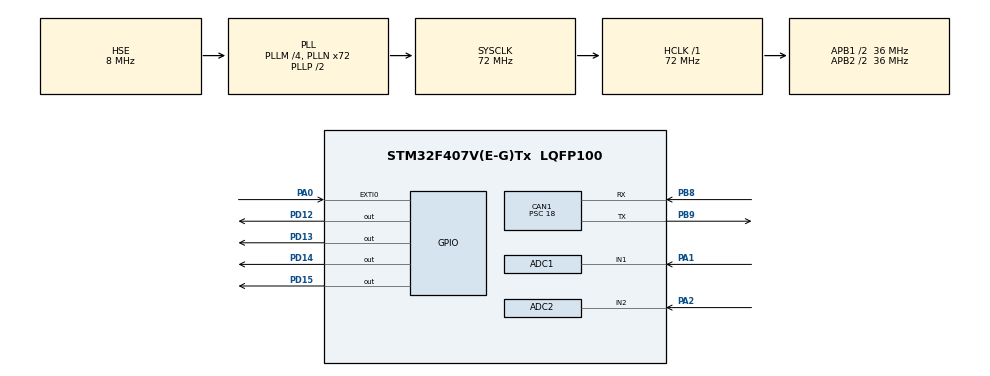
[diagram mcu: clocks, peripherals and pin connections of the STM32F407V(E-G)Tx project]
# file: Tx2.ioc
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ADC1.Channel-0\#ChannelRegularConversion=ADC_CHANNEL_1
ADC1.ContinuousConvMode=ENABLE
ADC1.NbrOfConversionFlag=1
ADC1.Rank-0\#ChannelRegularConversion=1
ADC1.SamplingTime-0\#ChannelRegularConversion=ADC_SAMPLETIME_3CYCLES
ADC1.master=1
ADC2.Channel-3\#ChannelRegularConversion=ADC_CHANNEL_2
ADC2.ContinuousConvMode=ENABLE
ADC2.NbrOfConversionFlag=1
ADC2.Rank-3\#ChannelRegularConversion=1
ADC2.SamplingTime-3\#ChannelRegularConversion=ADC_SAMPLETIME_3CYCLES
CAN1.BS1=CAN_BS1_2TQ
CAN1.CalculateBaudRate=500000
CAN1.CalculateTimeBit=2000
CAN1.CalculateTimeQuantum=500.0
CAN1.Prescaler=18
Mcu.Family=STM32F4
Mcu.Name=STM32F407V(E-G)Tx
Mcu.Package=LQFP100
NVIC.CAN1_RX0_IRQn=true\:0\:0\:false\:false\:true\:true\:true\:true
NVIC.EXTI0_IRQn=true\:0\:0\:false\:false\:true\:true\:true\:true
NVIC.PriorityGroup=NVIC_PRIORITYGROUP_0
PA0-WKUP.Signal=GPXTI0
PA1.Signal=ADCx_IN1
PA2.Signal=ADCx_IN2
PB8.Mode=CAN_Activate
PB8.Signal=CAN1_RX
PB9.Mode=CAN_Activate
PB9.Signal=CAN1_TX
PD12.Signal=GPIO_Output
PD13.Signal=GPIO_Output
PD14.Signal=GPIO_Output
PD15.Signal=GPIO_Output
PH0-OSC_IN.Mode=HSE-External-Oscillator
PH0-OSC_IN.Signal=RCC_OSC_IN
PH1-OSC_OUT.Mode=HSE-External-Oscillator
PH1-OSC_OUT.Signal=RCC_OSC_OUT
ProjectManager.HeapSize=0x200
ProjectManager.StackSize=0x400
ProjectManager.TargetToolchain=STM32CubeIDE
RCC.48MHZClocksFreq_Value=20571428.57142857
RCC.AHBFreq_Value=72000000
RCC.APB1CLKDivider=RCC_HCLK_DIV2
RCC.APB1Freq_Value=36000000
RCC.APB1TimFreq_Value=72000000
RCC.APB2CLKDivider=RCC_HCLK_DIV2
RCC.APB2Freq_Value=36000000
RCC.APB2TimFreq_Value=72000000
RCC.CortexFreq_Value=72000000
RCC.HCLKFreq_Value=72000000
RCC.HSE_VALUE=8000000
RCC.HSI_VALUE=16000000
RCC.LSE_VALUE=32768
RCC.PLLM=4
RCC.PLLN=72
RCC.PLLQ=7
RCC.PLLSourceVirtual=RCC_PLLSOURCE_HSE
RCC.SYSCLKFreq_VALUE=72000000
RCC.SYSCLKSource=RCC_SYSCLKSOURCE_PLLCLK
RCC.VCOOutputFreq_Value=144000000
SH.ADCx_IN1.0=ADC1_IN1,IN1
SH.ADCx_IN2.0=ADC2_IN2,IN2
board=STM32F407G-DISC1

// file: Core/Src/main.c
/* USER CODE BEGIN Header */
/**
  ******************************************************************************
  * @file           : main.c
  * @brief          : Main program body
  ******************************************************************************
  * @attention
  *
  * Copyright (c) 2023 STMicroelectronics.
  * All rights reserved.
  *
  * This software is licensed under terms that can be found in the LICENSE file
  * in the root directory of this software component.
  * If no LICENSE file comes with this software, it is provided AS-IS.
  *
  ******************************************************************************
  */
/* USER CODE END Header */
#include "main.h"

/* USER CODE BEGIN Includes */
#include <stdio.h>
#include<string.h>
/* USER CODE END Includes */

ADC_HandleTypeDef hadc1;
ADC_HandleTypeDef hadc2;

CAN_HandleTypeDef hcan1;

void SystemClock_Config(void);
static void MX_GPIO_Init(void);
static void MX_CAN1_Init(void);
static void MX_ADC1_Init(void);
static void MX_ADC2_Init(void);

/* USER CODE BEGIN 0 */

int Switch_Flag = 0;
CAN_TxHeaderTypeDef TxHeader;
uint32_t TxMailBox;
uint8_t TxData[5],adcValue = 0,adcValue1 = 0;

void HAL_GPIO_EXTI_Callback(uint16_t GPIO_Pin)
{
	Switch_Flag = 1;
	HAL_GPIO_WritePin(GPIOD, GPIO_PIN_14, GPIO_PIN_SET);
}

/* USER CODE END 0 */

int main(void)
{
  /* USER CODE END 1 */

  /* MCU Configuration--------------------------------------------------------*/

  /* Reset of all peripherals, Initializes the Flash interface and the Systick. */
  HAL_Init();

  /* Configure the system clock */
  SystemClock_Config();

  /* Initialize all configured peripherals */
  MX_GPIO_Init();
  MX_CAN1_Init();
  MX_ADC1_Init();
  MX_ADC2_Init();
  /* USER CODE BEGIN 2 */
  HAL_CAN_Start(&hcan1);
  HAL_CAN_ActivateNotification(&hcan1, CAN_IT_RX_FIFO0_MSG_PENDING);
  HAL_Delay(100);
  HAL_Delay(100);

  TxHeader.DLC=3;
  TxHeader.RTR=CAN_RTR_DATA;
  TxHeader.IDE=CAN_ID_STD;
  TxHeader.ExtId=0x0;
  TxHeader.StdId=0x0AA;
  TxHeader.TransmitGlobalTime=DISABLE;
  /* USER CODE END 2 */

  /* Infinite loop */
  /* USER CODE BEGIN WHILE */
  while (1)
  {
	if(Switch_Flag == 1)
	{
		HAL_GPIO_WritePin(GPIOD, GPIO_PIN_15, GPIO_PIN_SET);

		HAL_ADC_Start(&hadc1);
	  	HAL_ADC_PollForConversion(&hadc1, HAL_MAX_DELAY);
	  	int value = HAL_ADC_GetValue(&hadc1);
	  	adcValue = value * 0.08;

	  	HAL_ADC_Start(&hadc2);
	  	HAL_ADC_PollForConversion(&hadc2, HAL_MAX_DELAY);
	  	adcValue1 = HAL_ADC_GetValue(&hadc2);

	  	TxData[0] = (uint8_t)( adcValue>>8);
	  	TxData[1] = (uint8_t)( adcValue);
		HAL_ADC_Stop(&hadc1);

	  	TxData[2] = (uint8_t)( adcValue1>>8);
	  	TxData[3] = (uint8_t)( adcValue1);
	  	HAL_ADC_Stop(&hadc2);

	  	HAL_CAN_AddTxMessage(&hcan1, &TxHeader, TxData, &TxMailBox);
	  	HAL_Delay(1000);
	  	  		}
    /* USER CODE END WHILE */

  }
}

void SystemClock_Config(void)
{
  RCC_OscInitTypeDef RCC_OscInitStruct = {0};
  RCC_ClkInitTypeDef RCC_ClkInitStruct = {0};

  /** Configure the main internal regulator output voltage
  */
  __HAL_RCC_PWR_CLK_ENABLE();
  __HAL_PWR_VOLTAGESCALING_CONFIG(PWR_REGULATOR_VOLTAGE_SCALE1);

  /** Initializes the RCC Oscillators according to the specified parameters
  * in the RCC_OscInitTypeDef structure.
  */
  RCC_OscInitStruct.OscillatorType = RCC_OSCILLATORTYPE_HSE;
  RCC_OscInitStruct.HSEState = RCC_HSE_ON;
  RCC_OscInitStruct.PLL.PLLState = RCC_PLL_ON;
  RCC_OscInitStruct.PLL.PLLSource = RCC_PLLSOURCE_HSE;
  RCC_OscInitStruct.PLL.PLLM = 4;
  RCC_OscInitStruct.PLL.PLLN = 72;
  RCC_OscInitStruct.PLL.PLLP = RCC_PLLP_DIV2;
  RCC_OscInitStruct.PLL.PLLQ = 7;
  if (HAL_RCC_OscConfig(&RCC_OscInitStruct) != HAL_OK)
  {
    Error_Handler();
  }

  /** Initializes the CPU, AHB and APB buses clocks
  */
  RCC_ClkInitStruct.ClockType = RCC_CLOCKTYPE_HCLK|RCC_CLOCKTYPE_SYSCLK
                              |RCC_CLOCKTYPE_PCLK1|RCC_CLOCKTYPE_PCLK2;
  RCC_ClkInitStruct.SYSCLKSource = RCC_SYSCLKSOURCE_PLLCLK;
  RCC_ClkInitStruct.AHBCLKDivider = RCC_SYSCLK_DIV1;
  RCC_ClkInitStruct.APB1CLKDivider = RCC_HCLK_DIV2;
  RCC_ClkInitStruct.APB2CLKDivider = RCC_HCLK_DIV2;

  if (HAL_RCC_ClockConfig(&RCC_ClkInitStruct, FLASH_LATENCY_2) != HAL_OK)
  {
    Error_Handler();
  }
}

static void MX_ADC1_Init(void)
{

  ADC_ChannelConfTypeDef sConfig = {0};

  /** Configure the global features of the ADC (Clock, Resolution, Data Alignment and number of conversion)
  */
  hadc1.Instance = ADC1;
  hadc1.Init.ClockPrescaler = ADC_CLOCK_SYNC_PCLK_DIV2;
  hadc1.Init.Resolution = ADC_RESOLUTION_12B;
  hadc1.Init.ScanConvMode = DISABLE;
  hadc1.Init.ContinuousConvMode = ENABLE;
  hadc1.Init.DiscontinuousConvMode = DISABLE;
  hadc1.Init.ExternalTrigConvEdge = ADC_EXTERNALTRIGCONVEDGE_NONE;
  hadc1.Init.ExternalTrigConv = ADC_SOFTWARE_START;
  hadc1.Init.DataAlign = ADC_DATAALIGN_RIGHT;
  hadc1.Init.NbrOfConversion = 1;
  hadc1.Init.DMAContinuousRequests = DISABLE;
  hadc1.Init.EOCSelection = ADC_EOC_SINGLE_CONV;
  if (HAL_ADC_Init(&hadc1) != HAL_OK)
  {
    Error_Handler();
  }

  /** Configure for the selected ADC regular channel its corresponding rank in the sequencer and its sample time.
  */
  sConfig.Channel = ADC_CHANNEL_1;
  sConfig.Rank = 1;
  sConfig.SamplingTime = ADC_SAMPLETIME_3CYCLES;
  if (HAL_ADC_ConfigChannel(&hadc1, &sConfig) != HAL_OK)
  {
    Error_Handler();
  }

}

static void MX_ADC2_Init(void)
{

  ADC_ChannelConfTypeDef sConfig = {0};

  /** Configure the global features of the ADC (Clock, Resolution, Data Alignment and number of conversion)
  */
  hadc2.Instance = ADC2;
  hadc2.Init.ClockPrescaler = ADC_CLOCK_SYNC_PCLK_DIV2;
  hadc2.Init.Resolution = ADC_RESOLUTION_12B;
  hadc2.Init.ScanConvMode = DISABLE;
  hadc2.Init.ContinuousConvMode = ENABLE;
  hadc2.Init.DiscontinuousConvMode = DISABLE;
  hadc2.Init.ExternalTrigConvEdge = ADC_EXTERNALTRIGCONVEDGE_NONE;
  hadc2.Init.ExternalTrigConv = ADC_SOFTWARE_START;
  hadc2.Init.DataAlign = ADC_DATAALIGN_RIGHT;
  hadc2.Init.NbrOfConversion = 1;
  hadc2.Init.DMAContinuousRequests = DISABLE;
  hadc2.Init.EOCSelection = ADC_EOC_SINGLE_CONV;
  if (HAL_ADC_Init(&hadc2) != HAL_OK)
  {
    Error_Handler();
  }

  /** Configure for the selected ADC regular channel its corresponding rank in the sequencer and its sample time.
  */
  sConfig.Channel = ADC_CHANNEL_2;
  sConfig.Rank = 1;
  sConfig.SamplingTime = ADC_SAMPLETIME_3CYCLES;
  if (HAL_ADC_ConfigChannel(&hadc2, &sConfig) != HAL_OK)
  {
    Error_Handler();
  }

}

static void MX_CAN1_Init(void)
{

  hcan1.Instance = CAN1;
  hcan1.Init.Prescaler = 18;
  hcan1.Init.Mode = CAN_MODE_NORMAL;
  hcan1.Init.SyncJumpWidth = CAN_SJW_1TQ;
  hcan1.Init.TimeSeg1 = CAN_BS1_2TQ;
  hcan1.Init.TimeSeg2 = CAN_BS2_1TQ;
  hcan1.Init.TimeTriggeredMode = DISABLE;
  hcan1.Init.AutoBusOff = DISABLE;
  hcan1.Init.AutoWakeUp = DISABLE;
  hcan1.Init.AutoRetransmission = DISABLE;
  hcan1.Init.ReceiveFifoLocked = DISABLE;
  hcan1.Init.TransmitFifoPriority = DISABLE;
  if (HAL_CAN_Init(&hcan1) != HAL_OK)
  {
    Error_Handler();
  }
  /* USER CODE BEGIN CAN1_Init 2 */
  CAN_FilterTypeDef canFilterConfig;
   canFilterConfig.FilterActivation=CAN_FILTER_ENABLE;
   canFilterConfig.SlaveStartFilterBank=14;
   canFilterConfig.FilterBank=2;
   canFilterConfig.FilterFIFOAssignment=CAN_RX_FIFO0;
   canFilterConfig.FilterScale=CAN_FILTERSCALE_32BIT;
   canFilterConfig.FilterMode=CAN_FILTERMODE_IDMASK;
   canFilterConfig.FilterMaskIdLow=0x0000;
   canFilterConfig.FilterMaskIdHigh=0xFF00;
   canFilterConfig.FilterIdLow=0x0000;
   canFilterConfig.FilterIdHigh=0x1500;
   HAL_CAN_ConfigFilter(&hcan1, &canFilterConfig);
  /* USER CODE END CAN1_Init 2 */

}

static void MX_GPIO_Init(void)
{
  GPIO_InitTypeDef GPIO_InitStruct = {0};

  /* GPIO Ports Clock Enable */
  __HAL_RCC_GPIOH_CLK_ENABLE();
  __HAL_RCC_GPIOA_CLK_ENABLE();
  __HAL_RCC_GPIOD_CLK_ENABLE();
  __HAL_RCC_GPIOB_CLK_ENABLE();

  /*Configure GPIO pin Output Level */
  HAL_GPIO_WritePin(GPIOD, GPIO_PIN_12|GPIO_PIN_13|GPIO_PIN_14|GPIO_PIN_15, GPIO_PIN_RESET);

  /*Configure GPIO pin : PA0 */
  GPIO_InitStruct.Pin = GPIO_PIN_0;
  GPIO_InitStruct.Mode = GPIO_MODE_IT_RISING;
  GPIO_InitStruct.Pull = GPIO_NOPULL;
  HAL_GPIO_Init(GPIOA, &GPIO_InitStruct);

  /*Configure GPIO pins : PD12 PD13 PD14 PD15 */
  GPIO_InitStruct.Pin = GPIO_PIN_12|GPIO_PIN_13|GPIO_PIN_14|GPIO_PIN_15;
  GPIO_InitStruct.Mode = GPIO_MODE_OUTPUT_PP;
  GPIO_InitStruct.Pull = GPIO_NOPULL;
  GPIO_InitStruct.Speed = GPIO_SPEED_FREQ_LOW;
  HAL_GPIO_Init(GPIOD, &GPIO_InitStruct);

  /* EXTI interrupt init*/
  HAL_NVIC_SetPriority(EXTI0_IRQn, 0, 0);
  HAL_NVIC_EnableIRQ(EXTI0_IRQn);

}

/* USER CODE BEGIN 4 */
void HAL_CAN_TxMailbox0CompleteCallback(CAN_HandleTypeDef *hcan)
{
	HAL_GPIO_WritePin(GPIOD, GPIO_PIN_15, GPIO_PIN_SET);
}

/* USER CODE END 4 */

void Error_Handler(void)
{
  __disable_irq();
  while (1)
  {
  }
}
